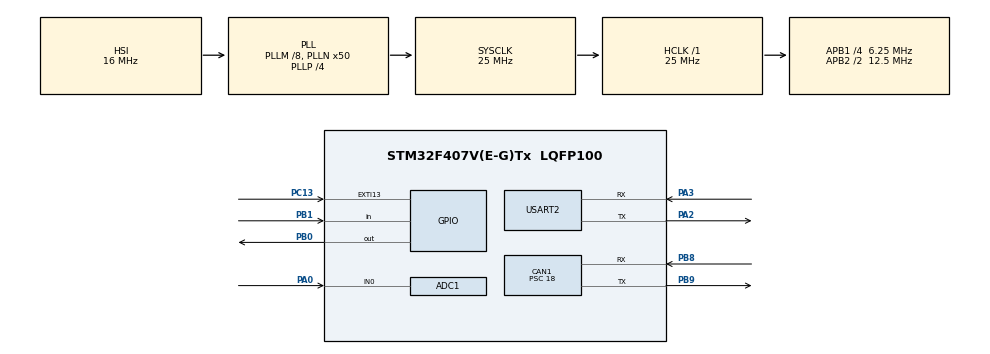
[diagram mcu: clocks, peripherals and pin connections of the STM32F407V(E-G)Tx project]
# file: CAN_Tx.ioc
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ADC1.Channel-0\#ChannelRegularConversion=ADC_CHANNEL_0
ADC1.NbrOfConversionFlag=1
ADC1.Rank-0\#ChannelRegularConversion=1
ADC1.SamplingTime-0\#ChannelRegularConversion=ADC_SAMPLETIME_3CYCLES
ADC1.master=1
CAN1.ABOM=ENABLE
CAN1.BS1=CAN_BS1_13TQ
CAN1.BS2=CAN_BS2_2TQ
CAN1.CalculateBaudRate=21701
CAN1.CalculateTimeBit=46080
CAN1.CalculateTimeQuantum=2880.0
CAN1.NART=ENABLE
CAN1.Prescaler=18
Mcu.Family=STM32F4
Mcu.Name=STM32F407V(E-G)Tx
Mcu.Package=LQFP100
NVIC.CAN1_RX0_IRQn=true\:0\:0\:false\:false\:true\:true\:true\:true
NVIC.EXTI15_10_IRQn=true\:0\:0\:false\:false\:true\:true\:true\:true
NVIC.PriorityGroup=NVIC_PRIORITYGROUP_0
NVIC.TIM3_IRQn=true\:0\:0\:false\:false\:true\:true\:true\:true
PA0-WKUP.Signal=ADCx_IN0
PA2.Mode=Asynchronous
PA2.Signal=USART2_TX
PA3.Mode=Asynchronous
PA3.Signal=USART2_RX
PB0.Signal=GPIO_Output
PB1.GPIO_PuPd=GPIO_NOPULL
PB1.Signal=GPIO_Input
PB8.Mode=CAN_Activate
PB8.Signal=CAN1_RX
PB9.Mode=CAN_Activate
PB9.Signal=CAN1_TX
PC13-ANTI_TAMP.GPIO_PuPd=GPIO_PULLUP
PC13-ANTI_TAMP.Signal=GPXTI13
ProjectManager.HeapSize=0x200
ProjectManager.StackSize=0x400
ProjectManager.TargetToolchain=STM32CubeIDE
RCC.48MHZClocksFreq_Value=14285714.285714285
RCC.AHBFreq_Value=25000000
RCC.APB1CLKDivider=RCC_HCLK_DIV4
RCC.APB1Freq_Value=6250000
RCC.APB1TimFreq_Value=12500000
RCC.APB2CLKDivider=RCC_HCLK_DIV2
RCC.APB2Freq_Value=12500000
RCC.APB2TimFreq_Value=25000000
RCC.CortexFreq_Value=25000000
RCC.HCLKFreq_Value=25000000
RCC.HSE_VALUE=8000000
RCC.HSI_VALUE=16000000
RCC.LSE_VALUE=32768
RCC.PLLM=8
RCC.PLLN=50
RCC.PLLP=RCC_PLLP_DIV4
RCC.PLLQ=7
RCC.SYSCLKFreq_VALUE=25000000
RCC.SYSCLKSource=RCC_SYSCLKSOURCE_PLLCLK
RCC.VCOOutputFreq_Value=100000000
SH.ADCx_IN0.0=ADC1_IN0,IN0
TIM3.Period=9999
TIM3.Prescaler=8399
USART2.VirtualMode=VM_ASYNC
VP_TIM2_VS_ClockSourceINT.Mode=Internal
VP_TIM3_VS_ClockSourceINT.Mode=Internal
board=STM32F407G-DISC1

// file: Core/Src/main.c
/* USER CODE BEGIN Header */
/**
  ******************************************************************************
  * @file           : main.c
  * @brief          : Main program body
  ******************************************************************************
  * @attention
  *
  * Copyright (c) 2026 STMicroelectronics.
  * All rights reserved.
  *
  * This software is licensed under terms that can be found in the LICENSE file
  * in the root directory of this software component.
  * If no LICENSE file comes with this software, it is provided AS-IS.
  *
  ******************************************************************************
  */
/* USER CODE END Header */
#include "main.h"

/* USER CODE BEGIN Includes */
#include <stdio.h>
#include <string.h>
#include <stdlib.h>
/* USER CODE END Includes */

/* USER CODE BEGIN PD */
#define ENCODER_PPR        20
#define WHEEL_CIRC_MM     90   // 21 cm wheel

/* USER CODE END PD */

ADC_HandleTypeDef hadc1;

CAN_HandleTypeDef hcan1;

TIM_HandleTypeDef htim2;
TIM_HandleTypeDef htim3;

UART_HandleTypeDef huart2;

/* USER CODE BEGIN PV */
//--------ULTRASONIC----------
static uint16_t ultrasonic=0;
//---------ADC--------
static uint16_t val=0;

//----------SPPED---------
static uint16_t speed_kmph=0;

//-----------CAN-----------
CAN_TxHeaderTypeDef TxHeader;
uint8_t TxData[8];
uint32_t TxMailbox;
static char str[128];

//----------- SPEED SENSOR (LM393 + Encoder) -----------
volatile uint32_t encoder_pulse_count = 0;
static uint16_t speed_kmph;

/* USER CODE END PV */

void SystemClock_Config(void);
static void MX_GPIO_Init(void);
static void MX_CAN1_Init(void);
static void MX_ADC1_Init(void);
static void MX_USART2_UART_Init(void);
static void MX_TIM3_Init(void);
static void MX_TIM2_Init(void);

/* USER CODE BEGIN 0 */
void CAN_Filter_Config(void)
{
    CAN_FilterTypeDef filter;

    filter.FilterBank = 0;
    filter.FilterMode = CAN_FILTERMODE_IDMASK;
    filter.FilterScale = CAN_FILTERSCALE_32BIT;

    filter.FilterIdHigh = 0x0000;
    filter.FilterIdLow  = 0x0000;

    filter.FilterMaskIdHigh = 0x0000;
    filter.FilterMaskIdLow  = 0x0000;

    filter.FilterFIFOAssignment = CAN_RX_FIFO0;
    filter.FilterActivation = ENABLE;
    filter.SlaveStartFilterBank = 14;

    HAL_CAN_ConfigFilter(&hcan1, &filter);
}

void CAN_Send_SensorData(void)
{
    TxData[0] = ultrasonic >> 8;
    TxData[1] = ultrasonic & 0xFF;

    TxData[2] = speed_kmph >> 8;
    TxData[3] = speed_kmph & 0xFF;

    TxData[4] = val;
    TxData[5] = 0;
    TxData[6] = 0;
    TxData[7] = 0;

    if (HAL_CAN_GetTxMailboxesFreeLevel(&hcan1) > 0)
    {
        HAL_CAN_AddTxMessage(&hcan1, &TxHeader, TxData, &TxMailbox);
    }
}
/*
void Generate_SensorData(void)
{
    ultrasonic = (rand() % 241) + 10;
    speed_kmph      = (rand() % 181);
    val=(rand() % 181);
}
*/
//----------ULTRASONIC-------------
static void delay_us(uint32_t us)
{
    __HAL_TIM_SET_COUNTER(&htim2, 0);
    while (__HAL_TIM_GET_COUNTER(&htim2) < us);
}

static uint32_t HCSR04_Read_cm(void)
{
    uint32_t t1 = 0, t2 = 0;
    uint32_t timeout;

    /* Trigger pulse */
    HAL_GPIO_WritePin(GPIOB, GPIO_PIN_0, GPIO_PIN_RESET);
    delay_us(2);
    HAL_GPIO_WritePin(GPIOB, GPIO_PIN_0, GPIO_PIN_SET);
    delay_us(10);
    HAL_GPIO_WritePin(GPIOB, GPIO_PIN_0, GPIO_PIN_RESET);

    /* Wait for ECHO to go HIGH */
    timeout = 30000;
    while ((HAL_GPIO_ReadPin(GPIOB, GPIO_PIN_1) == GPIO_PIN_RESET) && timeout--);
    if (timeout == 0) return 999;   // no echo

    t1 = __HAL_TIM_GET_COUNTER(&htim2);

    /* Wait for ECHO to go LOW */
    timeout = 60000;
    while ((HAL_GPIO_ReadPin(GPIOB, GPIO_PIN_1) == GPIO_PIN_SET) && timeout--);
    if (timeout == 0) return 999;

    t2 = __HAL_TIM_GET_COUNTER(&htim2);

    uint32_t pulse_us =
        (t2 >= t1) ? (t2 - t1) : (0xFFFFFFFF - t1 + t2 + 1);

    /* Distance in cm */
    return (pulse_us / 58);
}

//---------------ADC---------------
uint8_t ADC_Read(void)
{
    HAL_ADC_Start(&hadc1);
    HAL_ADC_PollForConversion(&hadc1, HAL_MAX_DELAY);
    uint16_t value = HAL_ADC_GetValue(&hadc1);
    HAL_ADC_Stop(&hadc1);
    return value;
}

//--------------SPEED Sensor---------

void HAL_TIM_PeriodElapsedCallback(TIM_HandleTypeDef *htim)
{
    if (htim->Instance == TIM3)
    {
        speed_kmph =(encoder_pulse_count * WHEEL_CIRC_MM * 36) / (ENCODER_PPR * 10000);

        encoder_pulse_count = 0;   // reset for next second
    }
}

/* USER CODE END 0 */

int main(void)
{

  /* MCU Configuration--------------------------------------------------------*/

  /* Reset of all peripherals, Initializes the Flash interface and the Systick. */
  HAL_Init();

  /* Configure the system clock */
  SystemClock_Config();

  /* Initialize all configured peripherals */
  MX_GPIO_Init();
  MX_CAN1_Init();
  MX_ADC1_Init();
  MX_USART2_UART_Init();
  MX_TIM3_Init();
  MX_TIM2_Init();
  /* USER CODE BEGIN 2 */
  //----------CAN------------
  CAN_Filter_Config();
  HAL_CAN_Start(&hcan1);

  TxHeader.StdId = 0x123;            // CAN ID
  TxHeader.IDE   = CAN_ID_STD;
  TxHeader.RTR   = CAN_RTR_DATA;
  TxHeader.DLC   = 8;
  TxHeader.TransmitGlobalTime = DISABLE;

  HAL_TIM_Base_Start(&htim2);
  HAL_TIM_Base_Start_IT(&htim3);
  /* USER CODE END 2 */

  /* Infinite loop */
  while (1)
  {

    /* USER CODE BEGIN 3 */

	  	  ultrasonic=HCSR04_Read_cm();
	      val = ADC_Read();
	      //--------DATA-------
	      sprintf(str,  "Ultrasonic:%d cm | Speed:%d km/h | FUEL Level:%d %%\r\n", ultrasonic, speed_kmph,val);
	      HAL_UART_Transmit(&huart2, (uint8_t*)str, strlen(str), HAL_MAX_DELAY);
	      //---------CAN--------------
	      CAN_Send_SensorData();
	      HAL_Delay(1000);

  }
  /* USER CODE END 3 */
}

void SystemClock_Config(void)
{
  RCC_OscInitTypeDef RCC_OscInitStruct = {0};
  RCC_ClkInitTypeDef RCC_ClkInitStruct = {0};

  /** Configure the main internal regulator output voltage
  */
  __HAL_RCC_PWR_CLK_ENABLE();
  __HAL_PWR_VOLTAGESCALING_CONFIG(PWR_REGULATOR_VOLTAGE_SCALE1);

  /** Initializes the RCC Oscillators according to the specified parameters
  * in the RCC_OscInitTypeDef structure.
  */
  RCC_OscInitStruct.OscillatorType = RCC_OSCILLATORTYPE_HSI;
  RCC_OscInitStruct.HSIState = RCC_HSI_ON;
  RCC_OscInitStruct.HSICalibrationValue = RCC_HSICALIBRATION_DEFAULT;
  RCC_OscInitStruct.PLL.PLLState = RCC_PLL_ON;
  RCC_OscInitStruct.PLL.PLLSource = RCC_PLLSOURCE_HSI;
  RCC_OscInitStruct.PLL.PLLM = 8;
  RCC_OscInitStruct.PLL.PLLN = 50;
  RCC_OscInitStruct.PLL.PLLP = RCC_PLLP_DIV4;
  RCC_OscInitStruct.PLL.PLLQ = 7;
  if (HAL_RCC_OscConfig(&RCC_OscInitStruct) != HAL_OK)
  {
    Error_Handler();
  }

  /** Initializes the CPU, AHB and APB buses clocks
  */
  RCC_ClkInitStruct.ClockType = RCC_CLOCKTYPE_HCLK|RCC_CLOCKTYPE_SYSCLK
                              |RCC_CLOCKTYPE_PCLK1|RCC_CLOCKTYPE_PCLK2;
  RCC_ClkInitStruct.SYSCLKSource = RCC_SYSCLKSOURCE_PLLCLK;
  RCC_ClkInitStruct.AHBCLKDivider = RCC_SYSCLK_DIV1;
  RCC_ClkInitStruct.APB1CLKDivider = RCC_HCLK_DIV4;
  RCC_ClkInitStruct.APB2CLKDivider = RCC_HCLK_DIV2;

  if (HAL_RCC_ClockConfig(&RCC_ClkInitStruct, FLASH_LATENCY_0) != HAL_OK)
  {
    Error_Handler();
  }
}

static void MX_ADC1_Init(void)
{

  ADC_ChannelConfTypeDef sConfig = {0};

  /** Configure the global features of the ADC (Clock, Resolution, Data Alignment and number of conversion)
  */
  hadc1.Instance = ADC1;
  hadc1.Init.ClockPrescaler = ADC_CLOCK_SYNC_PCLK_DIV2;
  hadc1.Init.Resolution = ADC_RESOLUTION_12B;
  hadc1.Init.ScanConvMode = DISABLE;
  hadc1.Init.ContinuousConvMode = DISABLE;
  hadc1.Init.DiscontinuousConvMode = DISABLE;
  hadc1.Init.ExternalTrigConvEdge = ADC_EXTERNALTRIGCONVEDGE_NONE;
  hadc1.Init.ExternalTrigConv = ADC_SOFTWARE_START;
  hadc1.Init.DataAlign = ADC_DATAALIGN_RIGHT;
  hadc1.Init.NbrOfConversion = 1;
  hadc1.Init.DMAContinuousRequests = DISABLE;
  hadc1.Init.EOCSelection = ADC_EOC_SINGLE_CONV;
  if (HAL_ADC_Init(&hadc1) != HAL_OK)
  {
    Error_Handler();
  }

  /** Configure for the selected ADC regular channel its corresponding rank in the sequencer and its sample time.
  */
  sConfig.Channel = ADC_CHANNEL_0;
  sConfig.Rank = 1;
  sConfig.SamplingTime = ADC_SAMPLETIME_3CYCLES;
  if (HAL_ADC_ConfigChannel(&hadc1, &sConfig) != HAL_OK)
  {
    Error_Handler();
  }

}

static void MX_CAN1_Init(void)
{

  hcan1.Instance = CAN1;
  hcan1.Init.Prescaler = 18;
  hcan1.Init.Mode = CAN_MODE_NORMAL;
  hcan1.Init.SyncJumpWidth = CAN_SJW_1TQ;
  hcan1.Init.TimeSeg1 = CAN_BS1_13TQ;
  hcan1.Init.TimeSeg2 = CAN_BS2_2TQ;
  hcan1.Init.TimeTriggeredMode = DISABLE;
  hcan1.Init.AutoBusOff = ENABLE;
  hcan1.Init.AutoWakeUp = DISABLE;
  hcan1.Init.AutoRetransmission = ENABLE;
  hcan1.Init.ReceiveFifoLocked = DISABLE;
  hcan1.Init.TransmitFifoPriority = DISABLE;
  if (HAL_CAN_Init(&hcan1) != HAL_OK)
  {
    Error_Handler();
  }

}

static void MX_TIM2_Init(void)
{

  TIM_ClockConfigTypeDef sClockSourceConfig = {0};
  TIM_MasterConfigTypeDef sMasterConfig = {0};

  htim2.Instance = TIM2;
  htim2.Init.Prescaler = 0;
  htim2.Init.CounterMode = TIM_COUNTERMODE_UP;
  htim2.Init.Period = 4294967295;
  htim2.Init.ClockDivision = TIM_CLOCKDIVISION_DIV1;
  htim2.Init.AutoReloadPreload = TIM_AUTORELOAD_PRELOAD_DISABLE;
  if (HAL_TIM_Base_Init(&htim2) != HAL_OK)
  {
    Error_Handler();
  }
  sClockSourceConfig.ClockSource = TIM_CLOCKSOURCE_INTERNAL;
  if (HAL_TIM_ConfigClockSource(&htim2, &sClockSourceConfig) != HAL_OK)
  {
    Error_Handler();
  }
  sMasterConfig.MasterOutputTrigger = TIM_TRGO_RESET;
  sMasterConfig.MasterSlaveMode = TIM_MASTERSLAVEMODE_DISABLE;
  if (HAL_TIMEx_MasterConfigSynchronization(&htim2, &sMasterConfig) != HAL_OK)
  {
    Error_Handler();
  }

}

static void MX_TIM3_Init(void)
{

  TIM_ClockConfigTypeDef sClockSourceConfig = {0};
  TIM_MasterConfigTypeDef sMasterConfig = {0};

  htim3.Instance = TIM3;
  htim3.Init.Prescaler = 8399;
  htim3.Init.CounterMode = TIM_COUNTERMODE_UP;
  htim3.Init.Period = 9999;
  htim3.Init.ClockDivision = TIM_CLOCKDIVISION_DIV1;
  htim3.Init.AutoReloadPreload = TIM_AUTORELOAD_PRELOAD_DISABLE;
  if (HAL_TIM_Base_Init(&htim3) != HAL_OK)
  {
    Error_Handler();
  }
  sClockSourceConfig.ClockSource = TIM_CLOCKSOURCE_INTERNAL;
  if (HAL_TIM_ConfigClockSource(&htim3, &sClockSourceConfig) != HAL_OK)
  {
    Error_Handler();
  }
  sMasterConfig.MasterOutputTrigger = TIM_TRGO_RESET;
  sMasterConfig.MasterSlaveMode = TIM_MASTERSLAVEMODE_DISABLE;
  if (HAL_TIMEx_MasterConfigSynchronization(&htim3, &sMasterConfig) != HAL_OK)
  {
    Error_Handler();
  }

}

static void MX_USART2_UART_Init(void)
{

  huart2.Instance = USART2;
  huart2.Init.BaudRate = 115200;
  huart2.Init.WordLength = UART_WORDLENGTH_8B;
  huart2.Init.StopBits = UART_STOPBITS_1;
  huart2.Init.Parity = UART_PARITY_NONE;
  huart2.Init.Mode = UART_MODE_TX_RX;
  huart2.Init.HwFlowCtl = UART_HWCONTROL_NONE;
  huart2.Init.OverSampling = UART_OVERSAMPLING_16;
  if (HAL_UART_Init(&huart2) != HAL_OK)
  {
    Error_Handler();
  }

}

static void MX_GPIO_Init(void)
{
  GPIO_InitTypeDef GPIO_InitStruct = {0};

  /* GPIO Ports Clock Enable */
  __HAL_RCC_GPIOC_CLK_ENABLE();
  __HAL_RCC_GPIOA_CLK_ENABLE();
  __HAL_RCC_GPIOB_CLK_ENABLE();

  /*Configure GPIO pin Output Level */
  HAL_GPIO_WritePin(GPIOB, GPIO_PIN_0, GPIO_PIN_RESET);

  /*Configure GPIO pin : PC13 */
  GPIO_InitStruct.Pin = GPIO_PIN_13;
  GPIO_InitStruct.Mode = GPIO_MODE_IT_RISING;
  GPIO_InitStruct.Pull = GPIO_PULLUP;
  HAL_GPIO_Init(GPIOC, &GPIO_InitStruct);

  /*Configure GPIO pin : PB0 */
  GPIO_InitStruct.Pin = GPIO_PIN_0;
  GPIO_InitStruct.Mode = GPIO_MODE_OUTPUT_PP;
  GPIO_InitStruct.Pull = GPIO_NOPULL;
  GPIO_InitStruct.Speed = GPIO_SPEED_FREQ_LOW;
  HAL_GPIO_Init(GPIOB, &GPIO_InitStruct);

  /*Configure GPIO pin : PB1 */
  GPIO_InitStruct.Pin = GPIO_PIN_1;
  GPIO_InitStruct.Mode = GPIO_MODE_INPUT;
  GPIO_InitStruct.Pull = GPIO_NOPULL;
  HAL_GPIO_Init(GPIOB, &GPIO_InitStruct);

  /* EXTI interrupt init*/
  HAL_NVIC_SetPriority(EXTI15_10_IRQn, 0, 0);
  HAL_NVIC_EnableIRQ(EXTI15_10_IRQn);

}

/* USER CODE BEGIN 4 */
void HAL_GPIO_EXTI_Callback(uint16_t GPIO_Pin)
{
    if (GPIO_Pin == GPIO_PIN_13)   // LM393 DO
    {
        encoder_pulse_count++;
    }
}

/* USER CODE END 4 */

void Error_Handler(void)
{
  __disable_irq();
  while (1)
  {
  }
}
